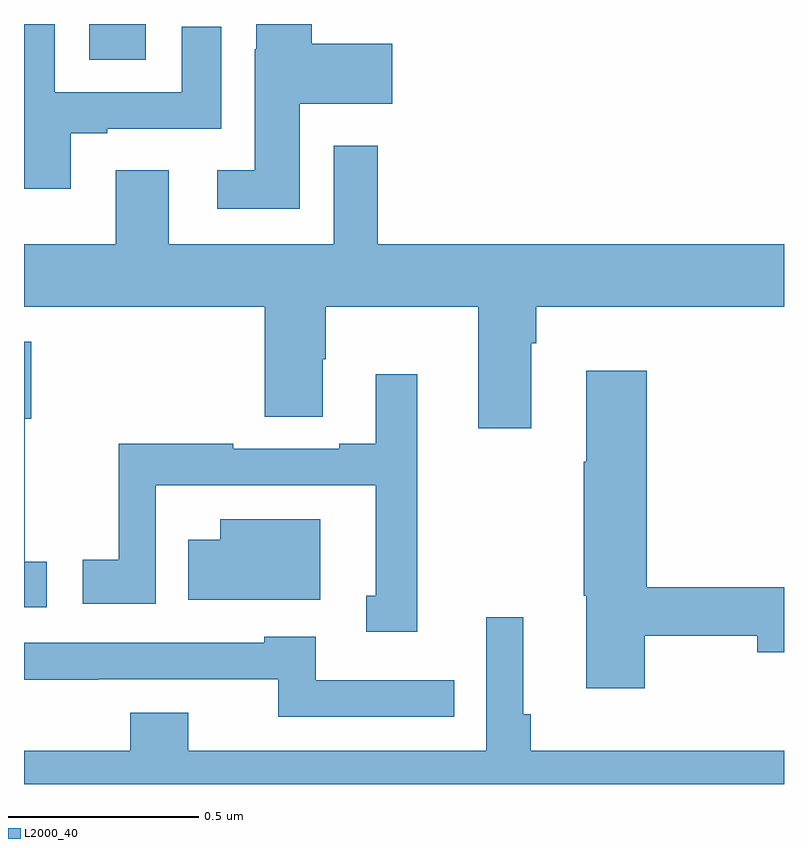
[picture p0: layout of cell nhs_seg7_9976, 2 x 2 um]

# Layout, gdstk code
import gdstk
lib = gdstk.Library(unit=1e-6, precision=1e-09)
def R(c, l, rs):  # rectangles x0, y0, x1, y1
    for r in rs: c.add(gdstk.rectangle(r[:2], r[2:], *l))
def P(c, l, *ps):  # polygons
    for p in ps: c.add(gdstk.Polygon(p, *l))
L2000_40 = (2000, 40)

nhs_seg7_9976 = lib.new_cell('nhs_seg7_9976')
R(nhs_seg7_9976, L2000_40, [(244.172,1027.906,244.321,1028)])
P(nhs_seg7_9976, L2000_40, [(244.123,1027.713),(244.219,1027.713),(244.219,1027.725),(244.519,1027.725),(244.519,1027.993),(244.415,1027.993),(244.415,1027.821),(244.081,1027.821),(244.081,1028),(244,1028),(244,1027.566),(244.123,1027.566)],
  [(244.726,1027.79),(244.969,1027.79),(244.969,1027.948),(244.757,1027.948),(244.757,1028),(244.611,1028),(244.611,1027.934),(244.607,1027.934),(244.607,1027.615),(244.509,1027.615),(244.509,1027.514),(244.726,1027.514)],
  [(245.335,1027.16),(245.348,1027.16),(245.348,1027.256),(246,1027.256),(246,1027.42),(244.931,1027.42),(244.931,1027.68),(244.815,1027.68),(244.815,1027.42),(244.381,1027.42),(244.381,1027.615),(244.241,1027.615),(244.241,1027.42),(244,1027.42),(244,1027.256),(244.634,1027.256),(244.634,1026.967),(244.786,1026.967),(244.786,1027.118),(244.794,1027.118),(244.794,1027.256),(245.195,1027.256),(245.195,1026.936),(245.335,1026.936)],
  [(244.06,1026.585),(244.002,1026.585),(244.002,1026.961),(244.019,1026.961),(244.019,1027.164),(244,1027.164),(244,1026.465),(244.06,1026.465)],
  [(245.634,1026.39),(245.93,1026.39),(245.93,1026.347),(246,1026.347),(246,1026.518),(245.639,1026.518),(245.639,1027.087),(245.48,1027.087),(245.48,1026.848),(245.473,1026.848),(245.473,1026.495),(245.48,1026.495),(245.48,1026.252),(245.634,1026.252)],
  [(245.035,1027.078),(244.925,1027.078),(244.925,1026.895),(244.829,1026.895),(244.829,1026.882),(244.55,1026.882),(244.55,1026.895),(244.249,1026.895),(244.249,1026.59),(244.155,1026.59),(244.155,1026.474),(244.347,1026.474),(244.347,1026.785),(244.348,1026.785),(244.348,1026.786),(244.925,1026.786),(244.925,1026.495),(244.901,1026.495),(244.901,1026.401),(245.035,1026.401)],
  [(244.78,1026.697),(244.517,1026.697),(244.517,1026.643),(244.432,1026.643),(244.432,1026.485),(244.78,1026.485)],
  [(246,1026.088),(245.333,1026.088),(245.333,1026.184),(245.314,1026.184),(245.314,1026.439),(245.217,1026.439),(245.217,1026.088),(244.432,1026.088),(244.432,1026.187),(244.28,1026.187),(244.28,1026.088),(244,1026.088),(244,1026),(246,1026)],
  [(245.132,1026.273),(244.768,1026.273),(244.768,1026.388),(244.632,1026.388),(244.632,1026.372),(244,1026.372),(244,1026.275),(244.196,1026.275),(244.196,1026.276),(244.669,1026.276),(244.669,1026.177),(245.132,1026.177)])

lib.write_gds('nhs_seg7_9976.gds')
